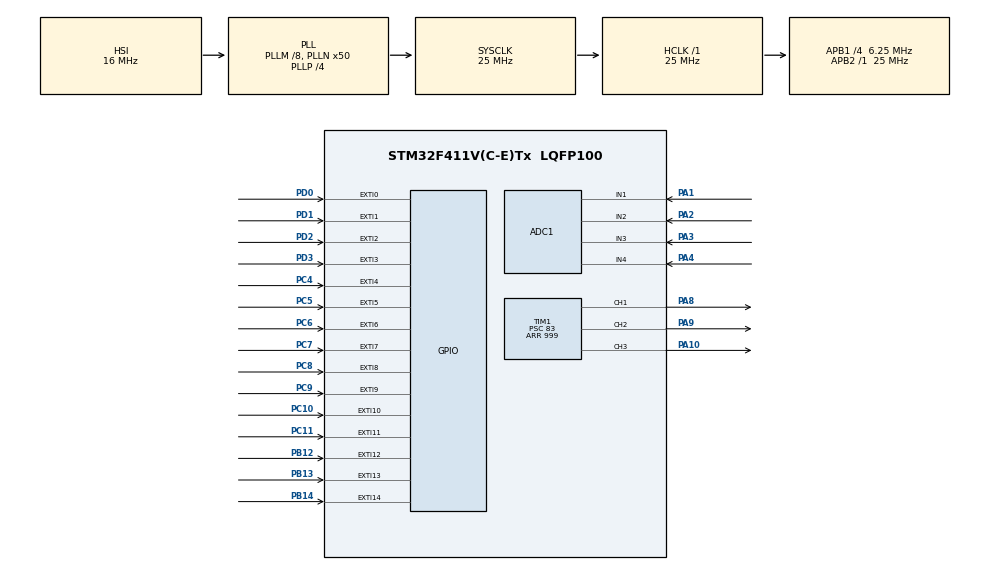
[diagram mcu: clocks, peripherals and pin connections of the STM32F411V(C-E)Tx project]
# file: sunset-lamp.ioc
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ADC1.Channel-0\#ChannelRegularConversion=ADC_CHANNEL_1
ADC1.NbrOfConversionFlag=1
ADC1.Rank-0\#ChannelRegularConversion=1
ADC1.SamplingTime-0\#ChannelRegularConversion=ADC_SAMPLETIME_3CYCLES
ADC1.master=1
Mcu.Family=STM32F4
Mcu.Name=STM32F411V(C-E)Tx
Mcu.Package=LQFP100
NVIC.EXTI0_IRQn=true\:0\:0\:false\:false\:true\:true\:true\:true
NVIC.EXTI15_10_IRQn=true\:0\:0\:false\:false\:true\:true\:true\:true
NVIC.EXTI1_IRQn=true\:0\:0\:false\:false\:true\:true\:true\:true
NVIC.EXTI2_IRQn=true\:0\:0\:false\:false\:true\:true\:true\:true
NVIC.EXTI3_IRQn=true\:0\:0\:false\:false\:true\:true\:true\:true
NVIC.EXTI4_IRQn=true\:0\:0\:false\:false\:true\:true\:true\:true
NVIC.EXTI9_5_IRQn=true\:0\:0\:false\:false\:true\:true\:true\:true
NVIC.PriorityGroup=NVIC_PRIORITYGROUP_0
NVIC.TIM2_IRQn=true\:0\:0\:false\:false\:true\:true\:true\:true
PA1.Signal=ADCx_IN1
PA10.GPIO_ModeDefaultPP=GPIO_MODE_AF_PP
PA10.Signal=S_TIM1_CH3
PA2.Signal=ADCx_IN2
PA3.Signal=ADCx_IN3
PA4.Signal=ADCx_IN4
PA8.GPIO_ModeDefaultPP=GPIO_MODE_AF_PP
PA8.Signal=S_TIM1_CH1
PA9.GPIO_ModeDefaultPP=GPIO_MODE_AF_PP
PA9.Signal=S_TIM1_CH2
PB12.GPIO_PuPd=GPIO_PULLDOWN
PB12.Signal=GPXTI12
PB13.GPIO_PuPd=GPIO_PULLDOWN
PB13.Signal=GPXTI13
PB14.GPIO_PuPd=GPIO_PULLDOWN
PB14.Signal=GPXTI14
PC10.Signal=GPXTI10
PC11.Signal=GPXTI11
PC4.GPIO_PuPd=GPIO_PULLDOWN
PC4.Signal=GPXTI4
PC5.GPIO_PuPd=GPIO_PULLDOWN
PC5.Signal=GPXTI5
PC6.Signal=GPXTI6
PC7.GPIO_PuPd=GPIO_PULLDOWN
PC7.Signal=GPXTI7
PC8.GPIO_PuPd=GPIO_PULLDOWN
PC8.Signal=GPXTI8
PC9.GPIO_PuPd=GPIO_PULLDOWN
PC9.Signal=GPXTI9
PD0.GPIO_PuPd=GPIO_PULLDOWN
PD0.Signal=GPXTI0
PD1.GPIO_PuPd=GPIO_PULLDOWN
PD1.Signal=GPXTI1
PD2.GPIO_PuPd=GPIO_PULLDOWN
PD2.Signal=GPXTI2
PD3.GPIO_PuPd=GPIO_PULLDOWN
PD3.Signal=GPXTI3
ProjectManager.HeapSize=0x200
ProjectManager.StackSize=0x400
ProjectManager.TargetToolchain=STM32CubeIDE
RCC.48MHZClocksFreq_Value=12500000
RCC.AHBFreq_Value=25000000
RCC.APB1CLKDivider=RCC_HCLK_DIV4
RCC.APB1Freq_Value=6250000
RCC.APB1TimFreq_Value=12500000
RCC.APB2Freq_Value=25000000
RCC.APB2TimFreq_Value=25000000
RCC.CortexFreq_Value=25000000
RCC.HCLKFreq_Value=25000000
RCC.HSE_VALUE=8000000
RCC.HSI_VALUE=16000000
RCC.LSE_VALUE=32768
RCC.PLLI2SM=5
RCC.PLLI2SN=200
RCC.PLLM=8
RCC.PLLN=50
RCC.PLLP=RCC_PLLP_DIV4
RCC.PLLQ=8
RCC.SYSCLKFreq_VALUE=25000000
RCC.SYSCLKSource=RCC_SYSCLKSOURCE_PLLCLK
RCC.VCOOutputFreq_Value=100000000
SH.ADCx_IN1.0=ADC1_IN1,IN1
SH.ADCx_IN2.0=ADC1_IN2,IN2
SH.ADCx_IN3.0=ADC1_IN3,IN3
SH.ADCx_IN4.0=ADC1_IN4,IN4
SH.S_TIM1_CH1.0=TIM1_CH1,PWM Generation1 CH1
SH.S_TIM1_CH2.0=TIM1_CH2,PWM Generation2 CH2
SH.S_TIM1_CH3.0=TIM1_CH3,PWM Generation3 CH3
TIM1.Channel-PWM\ Generation1\ CH1=TIM_CHANNEL_1
TIM1.Channel-PWM\ Generation2\ CH2=TIM_CHANNEL_2
TIM1.Channel-PWM\ Generation3\ CH3=TIM_CHANNEL_3
TIM1.Period=999
TIM1.Prescaler=83
TIM2.Channel-Output\ Compare1\ No\ Output=TIM_CHANNEL_1
TIM2.Period=1000
TIM2.Prescaler=15999
VP_TIM1_VS_ClockSourceINT.Mode=Internal
VP_TIM2_VS_ClockSourceINT.Mode=Internal
VP_TIM2_VS_no_output1.Mode=Output Compare1 No Output
board=STM32F411E-DISCO

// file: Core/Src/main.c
/* USER CODE BEGIN Header */
/**
  ******************************************************************************
  * @file           : main.c
  * @brief          : Main program body
  ******************************************************************************
  * @attention
  *
  * Copyright (c) 2025 STMicroelectronics.
  * All rights reserved.
  *
  * This software is licensed under terms that can be found in the LICENSE file
  * in the root directory of this software component.
  * If no LICENSE file comes with this software, it is provided AS-IS.
  *
  ******************************************************************************
  */
/* USER CODE END Header */
#include "main.h"

/* USER CODE BEGIN Includes */
#include "stm32f4xx_hal_tim.h"
#include "stm32f4xx_hal_adc.h"
#include "stm32f4xx_hal_flash_ex.h"
/* USER CODE END Includes */

/* USER CODE BEGIN PTD */
typedef enum{ EVENT_NONE /*ninguna entrada*/,
	/* Botón de encendido y apagado */
	EVENT_ONOFF,

	/* Colores predeterminados */
	EVENT_R /*luz roja (botón "R")*/,
	EVENT_G /*luz verde (botón "G")*/,
	EVENT_B /*luz azul (botón "B")*/,
	EVENT_W /*luz blanca (botón "W")*/,

	/* Colores personalizados */
	EVENT_1 /*color personalizado 1*/,
	EVENT_2 /*color personalizado 2*/,
	EVENT_3 /*color personalizado 3*/,

	/* Modos de ciclo */
	EVENT_CICLO1 /*modo arcoíris (botón "RAINBOW")*/,
	EVENT_CICLO2 /*modo discoteca (botón "RAVE")*/,
	EVENT_CICLO3 /*modo fuego (botón "EMBER")*/,

	/* Botón de ahorro de energía */
	EVENT_MODO_AHORRO,

	/* Botones de configuración de color */
	EVENT_CONFIG_COLOR /*botón "CONGIG"*/,
	EVENT_SAVE_COLOR /*botón "SAVE"*/
} event_t;

typedef enum{
	OFF /*luz apagada*/,

	NORMAL /*luz encendida,
	el usuario puede seleccionar distintos colores y modificar el brillo*/,

	CICLO /*modos de cambio de color*/,

	AHORRO /*modo ahorro de energía,
	este estado es como el normal, salvo que hay un timer que hará que la luz
	se apague o vaya perdiendo intensidad después de un tiempo*/,

	CONFIG_COLOR /*modo de configuración,
	en ese modo el usuario puede ajustar el color de la luz para crear
	una combinación personalizada y guardarla*/

} states_t;

typedef enum{
	/* Subestados del modo NORMAL */
	NORMAL_R /*luz roja*/,
	NORMAL_G /*luz verde*/,
	NORMAL_B /*luz azul*/,
	NORMAL_W /*luz blanca (estado inicial)*/,
	NORMAL_1 /*color personalizado 1*/,
	NORMAL_2 /*color personalizado 2*/,
	NORMAL_3 /*color personalizado 3*/,

	/* Subestados del modo CICLO */
	CICLO_1 /*modo arcoíris*/,
	CICLO_2 /*modo discoteca*/,
	CICLO_3 /*modo fuego*/,

	/* Subestados del modo CONFIG_COLOR */
	CONFIG_1 /*el usuario configura el color 1*/,
	CONFIG_2 /*el usuario configura el color 2*/,
	CONFIG_3 /*el usuario configura el color 3*/
}substates_t;
/* USER CODE END PTD */

/* USER CODE BEGIN PD */
#define CANAL_R TIM_CHANNEL_1 //rojo
#define CANAL_G TIM_CHANNEL_2 //verde
#define CANAL_B TIM_CHANNEL_3 // azul
#define CANAL_POT1 ADC_CHANNEL_4
#define CANAL_POTR ADC_CHANNEL_1
#define CANAL_POTG ADC_CHANNEL_2
#define CANAL_POTB ADC_CHANNEL_3
#define MAX_ADC 4095
#define MAX_PWM 999
#define factor_brillo_min 0.0
#define factor_brillo_max 1.0
#define USER_FLASH_ADDR 0x8060000
/* USER CODE END PD */

/* USER CODE BEGIN PM */
#define NO_VOLATIL __attribute__((__section__(".user_data_flash")))
/* USER CODE END PM */

ADC_HandleTypeDef hadc1;

TIM_HandleTypeDef htim1;
TIM_HandleTypeDef htim2;

/* USER CODE BEGIN PV */

/* Variables para el control de los estados */
volatile event_t entrada = EVENT_NONE;
volatile states_t modo = NORMAL;
volatile substates_t sub_modo = NORMAL_W;
volatile uint8_t timer_iniciado = 0;

/* Variables del potenciómetro que ajusta el brillo */
volatile uint32_t pot1_raw = 0; // valor medido por el ADC (0-4095)
volatile uint32_t pot1_scale = 0; // valor escalado (0-999)
volatile float factor_brillo = 0.0; // factor de ajuste del brillo (0.1-0.9)

/* Variables de color */
volatile uint32_t brillo_R = 666; // Intensidad del canal rojo (0-999)
volatile uint32_t brillo_G = 666; // Intensidad del canal verde (0-999)
volatile uint32_t brillo_B = 666; // Intensidad del canal azul (0-999)

/* Variables para los modos de ciclo */
volatile uint32_t hue1 = 0;
volatile uint32_t instante_anterior1;
volatile uint32_t instante_anterior2;
volatile uint32_t estado_ciclo2 = 1;
volatile uint32_t duracion_ciclo2;
volatile float intensidad_ciclo3 = 0.25;
volatile float avance_ciclo3 = 0.01;
volatile uint32_t instante_anterior3;

/* Variables no volátiles */
uint32_t NO_VOLATIL CP1_R;
uint32_t NO_VOLATIL CP1_G;
uint32_t NO_VOLATIL CP1_B;

uint32_t NO_VOLATIL CP2_R;
uint32_t NO_VOLATIL CP2_G;
uint32_t NO_VOLATIL CP2_B;

uint32_t NO_VOLATIL CP3_R;
uint32_t NO_VOLATIL CP3_G;
uint32_t NO_VOLATIL CP3_B;

/* Temporizador */
//TIM_HandleTypeDef htim2;

/* Control ahorro*/

volatile uint8_t ahorro_activo = 0;

/* USER CODE END PV */

void SystemClock_Config(void);
static void MX_GPIO_Init(void);
static void MX_TIM1_Init(void);
static void MX_ADC1_Init(void);
static void MX_TIM2_Init(void);
/* USER CODE BEGIN PFP */

/* Gestión de las entradas analógicas */
uint32_t scale(uint32_t raw);
uint32_t leer_canal_adc(uint32_t ch);
void ajuste_brillo();

/* Gestión de la memoria flash */
void guardar_datos();

/* Modos de funcionamiento */
void modo_normal();
void modo_ciclo();
void modo_ahorro();
void modo_config();

/* Lógica de la máquina de estados */
void state_decod();

/* Prototipo de inicialización del temporizador*/
//void MX_TIM2_Init(void);

void obtener_valores_rgb(uint32_t h);

/* USER CODE END PFP */

/* USER CODE BEGIN 0 */
uint32_t scale(uint32_t raw){
	return (uint32_t)((raw*MAX_PWM))/MAX_ADC;
}
uint32_t leer_canal_adc(uint32_t ch){
	// Para leer un canal específico del ADC

	ADC_ChannelConfTypeDef sConfig = {0};

	sConfig.Channel = ch;
	sConfig.Rank = 1;
	sConfig.SamplingTime = ADC_SAMPLETIME_56CYCLES;
	if (HAL_ADC_ConfigChannel(&hadc1, &sConfig) != HAL_OK)
	{
	  Error_Handler();
	}

	HAL_ADC_Start(&hadc1);
	if(HAL_ADC_PollForConversion(&hadc1, 100) == HAL_OK){
		uint32_t raw = HAL_ADC_GetValue(&hadc1);
		HAL_ADC_Stop(&hadc1);
		return raw;
	}
	HAL_ADC_Stop(&hadc1);

	return -1;
}

void ajuste_brillo(){
	/* Leemos el ADC por polling y calculamos el factor */
	//pot1_raw = leer_adc(&hadc1);
	pot1_raw = leer_canal_adc(CANAL_POT1);
	pot1_scale = scale(pot1_raw);
	factor_brillo = (float)pot1_scale / MAX_PWM;
	/* Para que no se salga del intervalo */
	if(factor_brillo < factor_brillo_min) factor_brillo = factor_brillo_min;
	if(factor_brillo > factor_brillo_max) factor_brillo = factor_brillo_max;
}

void guardar_datos(){
	if(modo!=CONFIG_COLOR) return;

	// Guardamos una copia de la configuración actual
	uint32_t vector_config[9] = {
			CP1_R,CP1_G,CP1_B,
			CP2_R,CP2_G,CP2_B,
			CP3_R,CP3_G,CP3_B
	};

	uint32_t PAGError = 0;
	FLASH_EraseInitTypeDef EraseInitStruct;

	EraseInitStruct.TypeErase = FLASH_TYPEERASE_SECTORS;
	EraseInitStruct.Banks = FLASH_BANK_1;
	EraseInitStruct.Sector = FLASH_SECTOR_7;
	EraseInitStruct.NbSectors = 1;
	EraseInitStruct.VoltageRange = FLASH_VOLTAGE_RANGE_3;

	HAL_FLASH_Unlock();

	/* Borramos el sector entero */
	if(HAL_FLASHEx_Erase(&EraseInitStruct, &PAGError)!=HAL_OK){
		HAL_FLASH_Lock();
		return;
	}

	switch(sub_modo){
	case CONFIG_1:
		vector_config[0] = brillo_R;
		vector_config[1] = brillo_G;
		vector_config[2] = brillo_B;
		break;
	case CONFIG_2:
		vector_config[3] = brillo_R;
		vector_config[4] = brillo_G;
		vector_config[5] = brillo_B;
		break;
	case CONFIG_3:
		vector_config[6] = brillo_R;
		vector_config[7] = brillo_G;
		vector_config[8] = brillo_B;
		break;
	default:break;
	}

	/* Escribimos los datos */
	for(uint32_t i=0;i<(sizeof(vector_config)/sizeof(vector_config[0]));i++){
		uint32_t addr = (uint32_t) USER_FLASH_ADDR + 4*i;
		if(HAL_FLASH_Program(FLASH_TYPEPROGRAM_WORD, addr, vector_config[i])!=HAL_OK){
			HAL_FLASH_Lock();
			return;
		}

	}

	HAL_FLASH_Lock();

}

void modo_normal(){
	/* Configuración de los colores del modo normal */
	switch(sub_modo){
	case NORMAL_W:
	  // asignar valores RGB para la luz BLANCA
		brillo_R = 999;
		brillo_G = 999;
		brillo_B = 999;
	  break;
	case NORMAL_R:
	  // asignar valores RGB para la luz ROJA
		brillo_R = 999;
		brillo_G = 0;
		brillo_B = 0;
	  break;
	case NORMAL_G:
	  // asignar valores RGB para la luz VERDE
		brillo_R = 0;
		brillo_G = 999;
		brillo_B = 0;
	  break;
	case NORMAL_B:
	  // asignar valores RGB para la luz AZUL
		brillo_R = 0;
		brillo_G = 0;
		brillo_B = 999;
	  break;
	case NORMAL_1:
	  // asignar valores RGB del color personalizado 1
		brillo_R = CP1_R;
		brillo_G = CP1_G;
		brillo_B = CP1_B;
	  break;
	case NORMAL_2:
	  // asignar valores RGB del color personalizado 2
		brillo_R = CP2_R;
		brillo_G = CP2_G;
		brillo_B = CP2_B;
	  break;
	case NORMAL_3:
	  // asignar valores RGB del color personalizado 3
		brillo_R = CP3_R;
		brillo_G = CP3_G;
		brillo_B = CP3_B;
	  break;
	default:break;
	}

}

void modo_arcoiris(){
	if(sub_modo!=CICLO_1) return;

	obtener_valores_rgb(hue1);

	uint32_t instante_actual = HAL_GetTick();
	if(instante_actual - instante_anterior1 >= 150){
		if(hue1==360) hue1=0;
		else hue1+=1;
		instante_anterior1 = instante_actual;
	}
}

void modo_discoteca(){
	if(sub_modo!=CICLO_2) return;

	//La luz parpadea cada 2 segundos y se mantiene apagada 1
	uint16_t Red,Green,Blue;
	//Red=brillo_R;
	//Green=brillo_G;
	//Blue=brillo_B;

	if(estado_ciclo2==1){
		// encender la luz 2 segundos
		duracion_ciclo2 = 2000;
		brillo_R = 999;//Red;
		brillo_G = 999;//Green;
		brillo_B = 999;//Blue;
	}
	else{
		// apagar 1 segundo
		duracion_ciclo2 = 1000;
		brillo_R = 0;
		brillo_G = 0;
		brillo_B = 0;
	}

	uint32_t instante_actual = HAL_GetTick();
	if(instante_actual - instante_anterior2 >= duracion_ciclo2){
		estado_ciclo2 = (estado_ciclo2==0)? 1:0;
		instante_anterior2 = instante_actual;
	}

}

void modo_fuego(){
	if(sub_modo!=CICLO_3) return;

	//Se tiene que poner la luz de un rojo cada vez más intenso
	brillo_G = intensidad_ciclo3 * 100;
	brillo_B=0;
	brillo_R = intensidad_ciclo3 * 900;

	uint32_t instante_actual = HAL_GetTick();
	if(instante_actual - instante_anterior3 >= 150){
		if(intensidad_ciclo3>=1){
			avance_ciclo3 = (avance_ciclo3==0.0)?-0.01:0.0;
		}
		if(intensidad_ciclo3<=0.25){
			avance_ciclo3 = 0.01;
		}
		intensidad_ciclo3 += avance_ciclo3;
		instante_anterior3 = instante_actual;
	}

}

void modo_ciclo(){
	switch(sub_modo){
	case CICLO_1:
	  // llamar a la función del ciclo 1 (modo arcoíris)
		modo_arcoiris();
	  break;
	case CICLO_2:
	  // llamar a la función del ciclo 2 (modo discoteca)
		modo_discoteca();
	  break;
	case CICLO_3:
	  // llamar a la función del ciclo 3 (modo fuego)
		modo_fuego();
	  break;
	default:break;
	}
}

void modo_ahorro() {
    if (!timer_iniciado) {
        ahorro_activo = 1;
        MX_TIM2_Init();
        HAL_TIM_Base_Start_IT(&htim2);
        timer_iniciado = 1;
    }
}
void HAL_TIM_PeriodElapsedCallback(TIM_HandleTypeDef *htim)
{
    if(htim->Instance == TIM2 && modo == AHORRO && ahorro_activo)
    {
        // Si el brillo sigue siendo mayor que 0, reducirlo gradualmente
        if (brillo_R > 10) brillo_R -= 10; else brillo_R = 0;
        if (brillo_G > 10) brillo_G -= 10; else brillo_G = 0;
        if (brillo_B > 10) brillo_B -= 10; else brillo_B = 0;

        // Si los tres canales están apagados, termina modo ahorro
        if (brillo_R == 0 && brillo_G == 0 && brillo_B == 0)
        {
            HAL_TIM_Base_Stop_IT(&htim2);
            modo = OFF;
            sub_modo = NORMAL_W;
            timer_iniciado = 0;
            ahorro_activo = 0;
        }
    }
}

void modo_config(){
	brillo_R = scale(leer_canal_adc(CANAL_POTR));
	brillo_G = scale(leer_canal_adc(CANAL_POTG));
	brillo_B = scale(leer_canal_adc(CANAL_POTB));
}
void state_decod(){

	switch(entrada){
		  case EVENT_NONE:break;

		  case EVENT_ONOFF:
			  if(modo == OFF){
				  modo = NORMAL;
				  sub_modo = NORMAL_W;
			  }
			  else modo = OFF;
			  entrada = EVENT_NONE;
			  break;

		  case EVENT_R:
			  if(modo == CICLO) modo = NORMAL;
			  if(modo == NORMAL) sub_modo = NORMAL_R;
			  entrada = EVENT_NONE;
			  break;

		  case EVENT_G:
			  if(modo == CICLO) modo = NORMAL;
			  if(modo == NORMAL) sub_modo = NORMAL_G;
			  entrada = EVENT_NONE;
			  break;

		  case EVENT_B:
			  if(modo == CICLO) modo = NORMAL;
			  if(modo == NORMAL) sub_modo = NORMAL_B;
			  entrada = EVENT_NONE;
			  break;

		  case EVENT_W:
			  if(modo == CICLO) modo = NORMAL;
			  if(modo == NORMAL) sub_modo = NORMAL_W;
			  entrada = EVENT_NONE;
			  break;

		  case EVENT_1:
			  if(modo == CICLO) modo = NORMAL;
			  if(modo == NORMAL) sub_modo = NORMAL_1;
			  entrada = EVENT_NONE;
			  break;

		  case EVENT_2:
			  if(modo == CICLO) modo = NORMAL;
			  if(modo == NORMAL) sub_modo = NORMAL_2;
			  entrada = EVENT_NONE;
			  break;

		  case EVENT_3:
			  if(modo == CICLO) modo = NORMAL;
			  if(modo == NORMAL) sub_modo = NORMAL_3;
			  entrada = EVENT_NONE;
			  break;

		  case EVENT_CICLO1:
			  if(modo == NORMAL) modo = CICLO;
			  if(modo == CICLO) sub_modo = CICLO_1;
			  entrada = EVENT_NONE;
			  hue1 = 0;
			  break;

		  case EVENT_CICLO2:
			  if(modo == NORMAL) modo = CICLO;
			  if(modo == CICLO) sub_modo = CICLO_2;
			  entrada = EVENT_NONE;
			  estado_ciclo2 = 1;
			  break;

		  case EVENT_CICLO3:
			  if(modo == NORMAL) modo = CICLO;
			  if(modo == CICLO) sub_modo = CICLO_3;
			  entrada = EVENT_NONE;
			  intensidad_ciclo3 = 0.25;
			  avance_ciclo3 = 0.01;
			  break;

		  case EVENT_MODO_AHORRO:
			  if(modo == NORMAL) modo = AHORRO;
			  else modo = NORMAL;
			  entrada = EVENT_NONE;
			  timer_iniciado = 0;
			  ahorro_activo = 0;
			  break;

		  case EVENT_CONFIG_COLOR:
			  /*if(modo == NORMAL) modo = CONFIG_COLOR;
			  if(sub_modo == NORMAL_1) sub_modo = CONFIG_1;
			  else if(sub_modo == NORMAL_2) sub_modo = CONFIG_2;
			  else if(sub_modo == NORMAL_3) sub_modo = CONFIG_3;
			  else sub_modo = CONFIG_1;
			  entrada = EVENT_NONE;*/

			  /* Si se pulsa en modo config, se sale sin guardar */
			  if(modo == CONFIG_COLOR){
				  modo = NORMAL;
				  switch(sub_modo){
				  case CONFIG_1:sub_modo = NORMAL_1;break;
				  case CONFIG_2:sub_modo = NORMAL_2;break;
				  case CONFIG_3:sub_modo = NORMAL_3;break;
				  default:sub_modo = NORMAL_W;break;
				  }
			  }

			  /* Si se pulsa en modo normal se pasa al modo config */
			  else if(modo == NORMAL){
				  modo = CONFIG_COLOR;
				  switch(sub_modo){
				  case NORMAL_1:sub_modo = CONFIG_1;break;
				  case NORMAL_2:sub_modo = CONFIG_2;break;
				  case NORMAL_3:sub_modo = CONFIG_3;break;
				  default:sub_modo = CONFIG_1;break;
				  }
			  }

			  entrada = EVENT_NONE;

			  break;

		  case EVENT_SAVE_COLOR:
			  if(modo == CONFIG_COLOR){
				  guardar_datos();
				  modo = NORMAL;
				  sub_modo = NORMAL_W;
			  }
			  entrada = EVENT_NONE;
			  break;

		  default:
			  entrada = EVENT_NONE;
			  break;
		  }

		  /* Actualización de las salidas en función del estado */
		  switch(modo){
		  case OFF:
			  // poner todos los canales a 0 (luz apagada)
			  brillo_R = 0;
			  brillo_G = 0;
			  brillo_B = 0;

			  break;

		  case NORMAL:
			  /* Función del modo normal */
			  modo_normal();
			  /* Ajuste del brillo */
			  ajuste_brillo();

			  break;

		  case CICLO:
			  /* Función del modo ciclo */
			  modo_ciclo();
			  /* Ajuste del brillo */
			  ajuste_brillo();

			  break;

		  case AHORRO:
			  /* Función del modo ahorro */
		      modo_ahorro();
		      /* Ajuste del brillo */
		      ajuste_brillo();
		      break;

		  case CONFIG_COLOR:
			  // llamar a la función de configuración del color
			  modo_config();
			  /* Ajuste del brillo */
			  factor_brillo = 1;

			  break;

		  default:break;
		  }

}

void HAL_GPIO_EXTI_Callback(uint16_t GPIO_Pin)
{
	/*Se plantean las diferentes entradas para el switch case
	 * en base a botones y cada botón activa un evento distinto*/

	/*Para obtener los antirrebotes se utilizará la función HAL_GetTick
	 * que medira el tiempo en milisegundos para rehabilitar la entrada*/

	static uint32_t last_tick = 0;
	uint32_t now = HAL_GetTick();

    if (GPIO_Pin == GPIO_PIN_0)
    {
    	if ((now - last_tick) > 50) {
    		entrada = EVENT_ONOFF;
    		last_tick = now;
    	}
    }

    if (GPIO_Pin == GPIO_PIN_1)
    {
    	if ((now - last_tick) > 50) {
    		entrada = EVENT_R;
    		last_tick = now;
    	}
    }

    if (GPIO_Pin == GPIO_PIN_2)
    {
    	if ((now - last_tick) > 50) {
    		entrada = EVENT_G;
    		last_tick = now;
    	}
    }

    if (GPIO_Pin == GPIO_PIN_3)
    {
    	if ((now - last_tick) > 50) {
    		entrada = EVENT_B;
    		last_tick = now;
    	}
    }

    if (GPIO_Pin == GPIO_PIN_4)
    {
    	if ((now - last_tick) > 50) {
    		entrada = EVENT_W;
    		last_tick = now;
    	}
    }

    if (GPIO_Pin == GPIO_PIN_5)
    {
    	if ((now - last_tick) > 50) {
    		entrada = EVENT_1;
    		last_tick = now;
    	}
    }

    if (GPIO_Pin == GPIO_PIN_6)
    {
    	if ((now - last_tick) > 50) {
    		entrada = EVENT_2;
    		last_tick = now;
    	}
    }

    if (GPIO_Pin == GPIO_PIN_7)
    {
    	if ((now - last_tick) > 50) {
    		entrada = EVENT_3;
    		last_tick = now;
    	}
    }

    if (GPIO_Pin == GPIO_PIN_8)
    {
    	if ((now - last_tick) > 50) {
    		entrada = EVENT_CICLO1;
    		last_tick = now;
    	}
    }

    if (GPIO_Pin == GPIO_PIN_9)
    {
    	if ((now - last_tick) > 50) {
    		entrada = EVENT_CICLO2;
    		last_tick = now;
    	}
    }

    if (GPIO_Pin == GPIO_PIN_10)
    {
    	if ((now - last_tick) > 50) {
    		entrada = EVENT_CICLO3;
    		last_tick = now;
    	}
    }

    if (GPIO_Pin == GPIO_PIN_11)
    {
    	if ((now - last_tick) > 50) {
    		entrada = EVENT_MODO_AHORRO;
    		last_tick = now;
    	}
    }

    if (GPIO_Pin == GPIO_PIN_12)
    {
    	if ((now - last_tick) > 50) {
    		entrada = EVENT_CONFIG_COLOR;
    		last_tick = now;
    	}
    }

    if (GPIO_Pin == GPIO_PIN_13)
    {
    	if ((now - last_tick) > 50) {
    		entrada = EVENT_SAVE_COLOR;
    		last_tick = now;
    	}
    }
}

void obtener_valores_rgb(uint32_t h){
	if(h>360) return;

	if(h<120){
		brillo_R = 999 - h*(999/120);
		brillo_G = h*(999/120);
		brillo_B = 0;
	}
	else if(h<=240){
		brillo_R = 0;
		brillo_G = 999 - (h-120)*(999/120);
		brillo_B = (h-120)*(999/120);
	}
	else{
		brillo_R = (h-240)*(999/120);
		brillo_G = 0;
		brillo_B = 999 - (h-240)*(999/120);
	}
}

/* USER CODE END 0 */

int main(void)
{

  /* MCU Configuration--------------------------------------------------------*/

  /* Reset of all peripherals, Initializes the Flash interface and the Systick. */
  HAL_Init();

  /* Configure the system clock */
  SystemClock_Config();

  /* Initialize all configured peripherals */
  MX_GPIO_Init();
  MX_TIM1_Init();
  MX_ADC1_Init();
  MX_TIM2_Init();
  /* USER CODE BEGIN 2 */

  //HAL_TIM_PWM_Init(&htim1);
  HAL_TIM_PWM_Start(&htim1, CANAL_R);
  HAL_TIM_PWM_Start(&htim1, CANAL_G);
  HAL_TIM_PWM_Start(&htim1, CANAL_B);
  __HAL_TIM_MOE_ENABLE(&htim1);

  HAL_ADC_Start(&hadc1);

  /* USER CODE END 2 */

  /* Infinite loop */
  /* USER CODE BEGIN WHILE */
  while (1)
  {

	  /* Actualización del estado en función de las entradas */
	  state_decod();

	  __HAL_TIM_SET_COMPARE(&htim1,CANAL_R,brillo_R*factor_brillo);
	  __HAL_TIM_SET_COMPARE(&htim1,CANAL_G,brillo_G*factor_brillo);
	  __HAL_TIM_SET_COMPARE(&htim1,CANAL_B,brillo_B*factor_brillo);

    /* USER CODE END WHILE */

  }
}

void SystemClock_Config(void)
{
  RCC_OscInitTypeDef RCC_OscInitStruct = {0};
  RCC_ClkInitTypeDef RCC_ClkInitStruct = {0};

  /** Configure the main internal regulator output voltage
  */
  __HAL_RCC_PWR_CLK_ENABLE();
  __HAL_PWR_VOLTAGESCALING_CONFIG(PWR_REGULATOR_VOLTAGE_SCALE1);

  /** Initializes the RCC Oscillators according to the specified parameters
  * in the RCC_OscInitTypeDef structure.
  */
  RCC_OscInitStruct.OscillatorType = RCC_OSCILLATORTYPE_HSI;
  RCC_OscInitStruct.HSIState = RCC_HSI_ON;
  RCC_OscInitStruct.HSICalibrationValue = RCC_HSICALIBRATION_DEFAULT;
  RCC_OscInitStruct.PLL.PLLState = RCC_PLL_ON;
  RCC_OscInitStruct.PLL.PLLSource = RCC_PLLSOURCE_HSI;
  RCC_OscInitStruct.PLL.PLLM = 8;
  RCC_OscInitStruct.PLL.PLLN = 50;
  RCC_OscInitStruct.PLL.PLLP = RCC_PLLP_DIV4;
  RCC_OscInitStruct.PLL.PLLQ = 8;
  if (HAL_RCC_OscConfig(&RCC_OscInitStruct) != HAL_OK)
  {
    Error_Handler();
  }

  /** Initializes the CPU, AHB and APB buses clocks
  */
  RCC_ClkInitStruct.ClockType = RCC_CLOCKTYPE_HCLK|RCC_CLOCKTYPE_SYSCLK
                              |RCC_CLOCKTYPE_PCLK1|RCC_CLOCKTYPE_PCLK2;
  RCC_ClkInitStruct.SYSCLKSource = RCC_SYSCLKSOURCE_PLLCLK;
  RCC_ClkInitStruct.AHBCLKDivider = RCC_SYSCLK_DIV1;
  RCC_ClkInitStruct.APB1CLKDivider = RCC_HCLK_DIV4;
  RCC_ClkInitStruct.APB2CLKDivider = RCC_HCLK_DIV1;

  if (HAL_RCC_ClockConfig(&RCC_ClkInitStruct, FLASH_LATENCY_0) != HAL_OK)
  {
    Error_Handler();
  }
}

static void MX_ADC1_Init(void)
{

  ADC_ChannelConfTypeDef sConfig = {0};

  /** Configure the global features of the ADC (Clock, Resolution, Data Alignment and number of conversion)
  */
  hadc1.Instance = ADC1;
  hadc1.Init.ClockPrescaler = ADC_CLOCK_SYNC_PCLK_DIV2;
  hadc1.Init.Resolution = ADC_RESOLUTION_12B;
  hadc1.Init.ScanConvMode = DISABLE;
  hadc1.Init.ContinuousConvMode = DISABLE;
  hadc1.Init.DiscontinuousConvMode = DISABLE;
  hadc1.Init.ExternalTrigConvEdge = ADC_EXTERNALTRIGCONVEDGE_NONE;
  hadc1.Init.ExternalTrigConv = ADC_SOFTWARE_START;
  hadc1.Init.DataAlign = ADC_DATAALIGN_RIGHT;
  hadc1.Init.NbrOfConversion = 1;
  hadc1.Init.DMAContinuousRequests = DISABLE;
  hadc1.Init.EOCSelection = ADC_EOC_SINGLE_CONV;
  if (HAL_ADC_Init(&hadc1) != HAL_OK)
  {
    Error_Handler();
  }

  /** Configure for the selected ADC regular channel its corresponding rank in the sequencer and its sample time.
  */
  sConfig.Channel = ADC_CHANNEL_1;
  sConfig.Rank = 1;
  sConfig.SamplingTime = ADC_SAMPLETIME_3CYCLES;
  if (HAL_ADC_ConfigChannel(&hadc1, &sConfig) != HAL_OK)
  {
    Error_Handler();
  }

}

static void MX_TIM1_Init(void)
{

  TIM_ClockConfigTypeDef sClockSourceConfig = {0};
  TIM_MasterConfigTypeDef sMasterConfig = {0};
  TIM_OC_InitTypeDef sConfigOC = {0};
  TIM_BreakDeadTimeConfigTypeDef sBreakDeadTimeConfig = {0};

  htim1.Instance = TIM1;
  htim1.Init.Prescaler = 83;
  htim1.Init.CounterMode = TIM_COUNTERMODE_UP;
  htim1.Init.Period = 999;
  htim1.Init.ClockDivision = TIM_CLOCKDIVISION_DIV1;
  htim1.Init.RepetitionCounter = 0;
  htim1.Init.AutoReloadPreload = TIM_AUTORELOAD_PRELOAD_DISABLE;
  if (HAL_TIM_Base_Init(&htim1) != HAL_OK)
  {
    Error_Handler();
  }
  sClockSourceConfig.ClockSource = TIM_CLOCKSOURCE_INTERNAL;
  if (HAL_TIM_ConfigClockSource(&htim1, &sClockSourceConfig) != HAL_OK)
  {
    Error_Handler();
  }
  if (HAL_TIM_PWM_Init(&htim1) != HAL_OK)
  {
    Error_Handler();
  }
  sMasterConfig.MasterOutputTrigger = TIM_TRGO_RESET;
  sMasterConfig.MasterSlaveMode = TIM_MASTERSLAVEMODE_DISABLE;
  if (HAL_TIMEx_MasterConfigSynchronization(&htim1, &sMasterConfig) != HAL_OK)
  {
    Error_Handler();
  }
  sConfigOC.OCMode = TIM_OCMODE_PWM1;
  sConfigOC.Pulse = 0;
  sConfigOC.OCPolarity = TIM_OCPOLARITY_HIGH;
  sConfigOC.OCNPolarity = TIM_OCNPOLARITY_HIGH;
  sConfigOC.OCFastMode = TIM_OCFAST_DISABLE;
  sConfigOC.OCIdleState = TIM_OCIDLESTATE_RESET;
  sConfigOC.OCNIdleState = TIM_OCNIDLESTATE_RESET;
  if (HAL_TIM_PWM_ConfigChannel(&htim1, &sConfigOC, TIM_CHANNEL_1) != HAL_OK)
  {
    Error_Handler();
  }
  if (HAL_TIM_PWM_ConfigChannel(&htim1, &sConfigOC, TIM_CHANNEL_2) != HAL_OK)
  {
    Error_Handler();
  }
  if (HAL_TIM_PWM_ConfigChannel(&htim1, &sConfigOC, TIM_CHANNEL_3) != HAL_OK)
  {
    Error_Handler();
  }
  sBreakDeadTimeConfig.OffStateRunMode = TIM_OSSR_DISABLE;
  sBreakDeadTimeConfig.OffStateIDLEMode = TIM_OSSI_DISABLE;
  sBreakDeadTimeConfig.LockLevel = TIM_LOCKLEVEL_OFF;
  sBreakDeadTimeConfig.DeadTime = 0;
  sBreakDeadTimeConfig.BreakState = TIM_BREAK_DISABLE;
  sBreakDeadTimeConfig.BreakPolarity = TIM_BREAKPOLARITY_HIGH;
  sBreakDeadTimeConfig.AutomaticOutput = TIM_AUTOMATICOUTPUT_DISABLE;
  if (HAL_TIMEx_ConfigBreakDeadTime(&htim1, &sBreakDeadTimeConfig) != HAL_OK)
  {
    Error_Handler();
  }
  HAL_TIM_MspPostInit(&htim1);

}

static void MX_TIM2_Init(void)
{

  TIM_ClockConfigTypeDef sClockSourceConfig = {0};
  TIM_MasterConfigTypeDef sMasterConfig = {0};
  TIM_OC_InitTypeDef sConfigOC = {0};

  htim2.Instance = TIM2;
  htim2.Init.Prescaler = 15999;
  htim2.Init.CounterMode = TIM_COUNTERMODE_UP;
  htim2.Init.Period = 1000;
  htim2.Init.ClockDivision = TIM_CLOCKDIVISION_DIV1;
  htim2.Init.AutoReloadPreload = TIM_AUTORELOAD_PRELOAD_DISABLE;
  if (HAL_TIM_Base_Init(&htim2) != HAL_OK)
  {
    Error_Handler();
  }
  sClockSourceConfig.ClockSource = TIM_CLOCKSOURCE_INTERNAL;
  if (HAL_TIM_ConfigClockSource(&htim2, &sClockSourceConfig) != HAL_OK)
  {
    Error_Handler();
  }
  if (HAL_TIM_OC_Init(&htim2) != HAL_OK)
  {
    Error_Handler();
  }
  sMasterConfig.MasterOutputTrigger = TIM_TRGO_RESET;
  sMasterConfig.MasterSlaveMode = TIM_MASTERSLAVEMODE_DISABLE;
  if (HAL_TIMEx_MasterConfigSynchronization(&htim2, &sMasterConfig) != HAL_OK)
  {
    Error_Handler();
  }
  sConfigOC.OCMode = TIM_OCMODE_TIMING;
  sConfigOC.Pulse = 0;
  sConfigOC.OCPolarity = TIM_OCPOLARITY_HIGH;
  sConfigOC.OCFastMode = TIM_OCFAST_DISABLE;
  if (HAL_TIM_OC_ConfigChannel(&htim2, &sConfigOC, TIM_CHANNEL_1) != HAL_OK)
  {
    Error_Handler();
  }

}

static void MX_GPIO_Init(void)
{
  GPIO_InitTypeDef GPIO_InitStruct = {0};

  /* GPIO Ports Clock Enable */
  __HAL_RCC_GPIOA_CLK_ENABLE();
  __HAL_RCC_GPIOC_CLK_ENABLE();
  __HAL_RCC_GPIOB_CLK_ENABLE();
  __HAL_RCC_GPIOD_CLK_ENABLE();

  /*Configure GPIO pins : PC4 PC5 PC7 PC8
                           PC9 */
  GPIO_InitStruct.Pin = GPIO_PIN_4|GPIO_PIN_5|GPIO_PIN_7|GPIO_PIN_8
                          |GPIO_PIN_9;
  GPIO_InitStruct.Mode = GPIO_MODE_IT_RISING;
  GPIO_InitStruct.Pull = GPIO_PULLDOWN;
  HAL_GPIO_Init(GPIOC, &GPIO_InitStruct);

  /*Configure GPIO pins : PB12 PB13 PB14 */
  GPIO_InitStruct.Pin = GPIO_PIN_12|GPIO_PIN_13|GPIO_PIN_14;
  GPIO_InitStruct.Mode = GPIO_MODE_IT_RISING;
  GPIO_InitStruct.Pull = GPIO_PULLDOWN;
  HAL_GPIO_Init(GPIOB, &GPIO_InitStruct);

  /*Configure GPIO pins : PC6 PC10 PC11 */
  GPIO_InitStruct.Pin = GPIO_PIN_6|GPIO_PIN_10|GPIO_PIN_11;
  GPIO_InitStruct.Mode = GPIO_MODE_IT_RISING;
  GPIO_InitStruct.Pull = GPIO_NOPULL;
  HAL_GPIO_Init(GPIOC, &GPIO_InitStruct);

  /*Configure GPIO pins : PD0 PD1 PD2 PD3 */
  GPIO_InitStruct.Pin = GPIO_PIN_0|GPIO_PIN_1|GPIO_PIN_2|GPIO_PIN_3;
  GPIO_InitStruct.Mode = GPIO_MODE_IT_RISING;
  GPIO_InitStruct.Pull = GPIO_PULLDOWN;
  HAL_GPIO_Init(GPIOD, &GPIO_InitStruct);

  /* EXTI interrupt init*/
  HAL_NVIC_SetPriority(EXTI0_IRQn, 0, 0);
  HAL_NVIC_EnableIRQ(EXTI0_IRQn);

  HAL_NVIC_SetPriority(EXTI1_IRQn, 0, 0);
  HAL_NVIC_EnableIRQ(EXTI1_IRQn);

  HAL_NVIC_SetPriority(EXTI2_IRQn, 0, 0);
  HAL_NVIC_EnableIRQ(EXTI2_IRQn);

  HAL_NVIC_SetPriority(EXTI3_IRQn, 0, 0);
  HAL_NVIC_EnableIRQ(EXTI3_IRQn);

  HAL_NVIC_SetPriority(EXTI4_IRQn, 0, 0);
  HAL_NVIC_EnableIRQ(EXTI4_IRQn);

  HAL_NVIC_SetPriority(EXTI9_5_IRQn, 0, 0);
  HAL_NVIC_EnableIRQ(EXTI9_5_IRQn);

  HAL_NVIC_SetPriority(EXTI15_10_IRQn, 0, 0);
  HAL_NVIC_EnableIRQ(EXTI15_10_IRQn);

}

void Error_Handler(void)
{
  __disable_irq();
  while (1)
  {
  }
}
